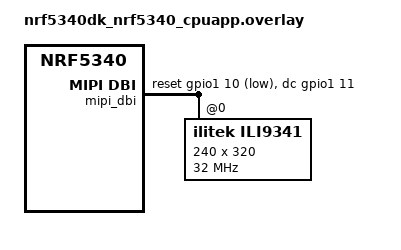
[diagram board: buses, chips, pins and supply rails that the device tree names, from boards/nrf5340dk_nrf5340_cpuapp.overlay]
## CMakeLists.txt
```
#
# Copyright (c) 2018 Nordic Semiconductor
#
# SPDX-License-Identifier: LicenseRef-Nordic-5-Clause
#

cmake_minimum_required(VERSION 3.20.0)

find_package(Zephyr REQUIRED HINTS $ENV{ZEPHYR_BASE})
project(nrf5340_notify)

FILE(GLOB app_sources src/*.c)
target_sources(app PRIVATE ${app_sources})
```

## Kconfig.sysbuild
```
#
# Copyright (c) 2023 Nordic Semiconductor
#
# SPDX-License-Identifier: LicenseRef-Nordic-5-Clause
#

# 让 sysbuild 生成 merged.hex(同时含 app 核 + 网络核),方便一次烧录
config MERGED_HEX_FILES
	default y if !SOC_SERIES_NRF54H

# 在网络核(cpunet)上跑 ipc_radio,提供 BLE 控制器
config NRF_DEFAULT_IPC_RADIO
	default y

# ipc_radio 里的蓝牙 HCI IPC 分支(与应用核的 CONFIG_BT_HCI_IPC 对应)
config NETCORE_IPC_RADIO_BT_HCI_IPC
	default y

source "share/sysbuild/Kconfig"
```

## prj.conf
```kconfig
#
# Notification mirror: Gadgetbridge (NUS over BLE) -> ILI9341 (LVGL)
#

# --- Display (ILI9341 over SPI) ---
CONFIG_DISPLAY=y
CONFIG_SPI=y
CONFIG_GPIO=y

# --- nRF5340 DK / system ---
CONFIG_DK_LIBRARY=y
CONFIG_HEAP_MEM_POOL_SIZE=2048
CONFIG_MAIN_STACK_SIZE=4096
CONFIG_SYSTEM_WORKQUEUE_STACK_SIZE=4096

# FPU + newlib (LVGL uses some float/formatting)
CONFIG_FPU=y
CONFIG_NEWLIB_LIBC=y

# --- LVGL ---
CONFIG_LVGL=y
CONFIG_LV_Z_MEM_POOL_SIZE=32768
CONFIG_LV_COLOR_DEPTH_16=y
CONFIG_LV_USE_LABEL=y
# 内置思源黑体中文子集(含 ASCII 32~127 + 约 1187 个常用汉字),设为全局默认字体
CONFIG_LV_FONT_DEFAULT_SOURCE_HAN_SANS_SC_16_CJK=y
# 顶部头像用 LVGL 内置符号字体绘制邮件/电话/音乐等图标
CONFIG_LV_FONT_MONTSERRAT_20=y

# --- BLE / Nordic UART Service (Gadgetbridge talks NUS) ---
CONFIG_BT=y
CONFIG_BT_PERIPHERAL=y
# Gadgetbridge recognizes the Bangle.js device by name.
CONFIG_BT_DEVICE_NAME="Bangle.js"
CONFIG_BT_MAX_CONN=1
CONFIG_BT_MAX_PAIRED=1
CONFIG_BT_NUS=y
# Gadgetbridge (Bangle.js device type) bonds before talking NUS.
CONFIG_BT_SMP=y
CONFIG_BT_SETTINGS=y
CONFIG_SETTINGS=y
# Without a settings backend every bond/CCC save fails with -ENOENT and the
# phone reports the pairing as failed. NVS lives in storage_partition.
CONFIG_NVS=y
CONFIG_SETTINGS_NVS=y
CONFIG_FLASH=y
CONFIG_FLASH_PAGE_LAYOUT=y
CONFIG_FLASH_MAP=y

# --- Logging (RTT so we can watch parse output on PC) ---
CONFIG_LOG=y
CONFIG_CONSOLE=y
CONFIG_USE_SEGGER_RTT=y
CONFIG_LOG_BACKEND_RTT=y
CONFIG_LOG_BACKEND_UART=n
CONFIG_LOG_PRINTK=n
CONFIG_ASSERT=y
```

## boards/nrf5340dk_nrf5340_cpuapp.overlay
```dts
/*
 * ILI9341 wiring (Arduino headers on nRF5340 DK):
 * SCK=D13/P1.15, MOSI=D11/P1.13, CS=D10/P1.12,
 * DC=D9/P1.11, RESET=D8/P1.10.
 *
 * The display uses the DK's Arduino SPI controller (spi4/arduino_spi).
 */

#include <zephyr/dt-bindings/display/panel.h>

/ {
	chosen {
		zephyr,display = &ili9341;
	};

	mipi_dbi {
		compatible = "zephyr,mipi-dbi-spi";
		spi-dev = <&arduino_spi>;
		dc-gpios = <&gpio1 11 GPIO_ACTIVE_HIGH>;
		reset-gpios = <&gpio1 10 GPIO_ACTIVE_LOW>;
		write-only;
		#address-cells = <1>;
		#size-cells = <0>;

		ili9341: ili9341@0 {
			compatible = "ilitek,ili9341";
			reg = <0>;
			mipi-max-frequency = <32000000>;
			mipi-mode = "MIPI_DBI_MODE_SPI_4WIRE";
			width = <240>;
			height = <320>;
			/* Module installed in landscape orientation. */
			rotation = <90>;
			pixel-format = <PANEL_PIXEL_FORMAT_RGB_565>;
		};
	};
};
```

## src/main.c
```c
/*
 * Notification mirror for nRF5340 DK + ILI9341.
 *
 * Phone (Android + Gadgetbridge) -> BLE (Nordic UART Service) -> JSON
 *   {"t":"notify","id":123,"src":"email","sender":"Alice",
 *    "title":"...","body":"..."}
 * -> parsed -> rendered by LVGL onto the ILI9341.
 *
 * The BLE side speaks the same NUS UUID as ZSWatch, so a stock Gadgetbridge
 * with ZSWatch device support can connect and forward Android notifications.
 */

#include <stdio.h>
#include <string.h>
#include <stdlib.h>

#include <zephyr/kernel.h>
#include <zephyr/device.h>
#include <zephyr/devicetree.h>
#include <zephyr/drivers/display.h>
#include <zephyr/init.h>
#include <zephyr/logging/log.h>
#include <zephyr/sys/byteorder.h>
#include <zephyr/settings/settings.h>

#include <zephyr/bluetooth/bluetooth.h>
#include <zephyr/bluetooth/uuid.h>
#include <zephyr/bluetooth/gatt.h>
#include <bluetooth/services/nus.h>

#include <hal/nrf_clock.h>

#include <lvgl.h>

LOG_MODULE_REGISTER(notify, LOG_LEVEL_INF);

#define DEVICE_NAME CONFIG_BT_DEVICE_NAME
#define DEVICE_NAME_LEN (sizeof(DEVICE_NAME) - 1)

/* SPIM may use 32 MHz only with HFCLK at 128 MHz; must run before the display
 * driver's POST_KERNEL init or its 16 MHz fallback is cached. */
static int enable_128mhz_hfclk(void)
{
	nrf_clock_hfclk_div_set(NRF_CLOCK, NRF_CLOCK_HFCLK_DIV_1);
	return 0;
}
SYS_INIT(enable_128mhz_hfclk, PRE_KERNEL_1, 0);

/* The ILI9341 module is physically wired horizontally mirrored: LVGL renders
 * in logical coordinates, so this flush callback mirrors every row in place
 * and flips the X offset before handing the buffer to the panel driver. */
static const struct device *mirror_disp_dev;

static void mirror_flush_cb(lv_display_t *disp, const lv_area_t *area, uint8_t *px_map)
{
	uint16_t w = (uint16_t)(area->x2 - area->x1 + 1);
	uint16_t h = (uint16_t)(area->y2 - area->y1 + 1);
	uint16_t *px = (uint16_t *)px_map;

	/* Mirror every horizontal row in place and emit each RGB565 word high
	 * byte first: the panel latches the MSB first while LVGL renders
	 * little-endian words. */
	for (uint16_t r = 0; r < h; r++) {
		uint16_t *row = px + (size_t)r * w;

		for (uint16_t c = 0; c < (w + 1U) / 2U; c++) {
			uint16_t left = row[c];
			uint16_t right = row[w - 1U - c];

			row[c] = sys_cpu_to_be16(right);
			row[w - 1U - c] = sys_cpu_to_be16(left);
		}
	}

	struct display_buffer_descriptor desc = {
		.buf_size = w * 2U * h,
		.width = w,
		.height = h,
		.pitch = w,
	};

	uint16_t x = (uint16_t)(lv_display_get_horizontal_resolution(disp) - 1U - area->x2);
	uint16_t y = (uint16_t)area->y1;

	if (display_write(mirror_disp_dev, x, y, &desc, px)) {
		LOG_ERR("display_write failed");
	}

	lv_display_flush_ready(disp);
}

/* ---------- UI state ---------- */
static lv_obj_t *icon_bg;
static lv_obj_t *icon_label;
static lv_obj_t *header_label;
static lv_obj_t *title_label;
static lv_obj_t *meta_label;
static lv_obj_t *body_label;

/* Parsed notification, filled by BLE rx context, read by the LVGL main loop. */
static char g_src[64];
static char g_title[256];
static char g_meta[256];
static char g_body[1600];
static atomic_t has_notification;

/* ---------- BLE state ---------- */
static struct bt_conn *current_conn;
static struct k_work adv_work;

#define RX_BUF_MAX 2048
static uint8_t rx_buf[RX_BUF_MAX];
static size_t rx_len;

static const struct bt_data ad[] = {
	BT_DATA_BYTES(BT_DATA_FLAGS, (BT_LE_AD_GENERAL | BT_LE_AD_NO_BREDR)),
	BT_DATA(BT_DATA_NAME_COMPLETE, DEVICE_NAME, DEVICE_NAME_LEN),
};

static const struct bt_data sd[] = {
	BT_DATA_BYTES(BT_DATA_UUID128_ALL, BT_UUID_NUS_VAL),
};

/* ---------- Minimal JSON field extraction ---------- */
static char *find_key(const char *key, char *data)
{
	return strstr(data, key);
}

static uint32_t extract_uint32(const char *key, char *data)
{
	char *p = strstr(data, key);

	if (p == NULL) {
		return 0;
	}
	return strtoul(p + strlen(key), NULL, 10);
}

static bool hex4(const char *s, uint32_t *val)
{
	uint32_t v = 0;

	for (int i = 0; i < 4; i++) {
		char c = s[i];

		v <<= 4;
		if (c >= '0' && c <= '9') {
			v |= (uint32_t)(c - '0');
		} else if (c >= 'a' && c <= 'f') {
			v |= (uint32_t)(c - 'a' + 10);
		} else if (c >= 'A' && c <= 'F') {
			v |= (uint32_t)(c - 'A' + 10);
		} else {
			return false;
		}
	}
	*val = v;
	return true;
}

static void utf8_append(char *out, size_t *n, size_t out_len, uint32_t cp)
{
	size_t need;

	if (cp < 0x80U) {
		need = 1;
	} else if (cp < 0x800U) {
		need = 2;
	} else if (cp < 0x10000U) {
		need = 3;
	} else {
		need = 4;
	}
	if (*n + need >= out_len) {
		return;
	}

	if (need == 1) {
		out[(*n)++] = (char)cp;
	} else if (need == 2) {
		out[(*n)++] = (char)(0xC0U | (cp >> 6));
		out[(*n)++] = (char)(0x80U | (cp & 0x3FU));
	} else if (need == 3) {
		out[(*n)++] = (char)(0xE0U | (cp >> 12));
		out[(*n)++] = (char)(0x80U | ((cp >> 6) & 0x3FU));
		out[(*n)++] = (char)(0x80U | (cp & 0x3FU));
	} else {
		out[(*n)++] = (char)(0xF0U | (cp >> 18));
		out[(*n)++] = (char)(0x80U | ((cp >> 12) & 0x3FU));
		out[(*n)++] = (char)(0x80U | ((cp >> 6) & 0x3FU));
		out[(*n)++] = (char)(0x80U | (cp & 0x3FU));
	}
}

/* Copies the string value after "key": into out, decoding the JSON escapes
 * Gadgetbridge uses (all non-ASCII text arrives as \uXXXX). */
static bool extract_str(const char *key, char *data, char *out, size_t out_len)
{
	char *p = strstr(data, key);
	size_t n = 0;

	if (p == NULL) {
		return false;
	}
	p += strlen(key);
	if (*p != '"') {
		return false;
	}
	p++;

	while (*p != '\0' && *p != '"' && n < out_len - 1U) {
		if (*p != '\\') {
			out[n++] = *p++;
			continue;
		}

		p++;
		switch (*p) {
		case 'n':
			out[n++] = '\n';
			p++;
			break;
		case 'r':
			out[n++] = '\r';
			p++;
			break;
		case 't':
			out[n++] = '\t';
			p++;
			break;
		case '"':
		case '\\':
		case '/':
			out[n++] = *p++;
			break;
		case 'u': {
			uint32_t cp;

			p++;
			if (!hex4(p, &cp)) {
				break;
			}
			p += 4;
			/* Emoji and other astral characters arrive as a surrogate pair. */
			if (cp >= 0xD800U && cp <= 0xDBFFU && p[0] == '\\' && p[1] == 'u') {
				uint32_t lo;

				if (hex4(p + 2, &lo) && lo >= 0xDC00U && lo <= 0xDFFFU) {
					cp = 0x10000U + ((cp - 0xD800U) << 10) + (lo - 0xDC00U);
					p += 6;
				}
			}
			if (cp != 0U) {
				utf8_append(out, &n, out_len, cp);
			}
			break;
		}
		default:
			p++;
			break;
		}
	}
	out[n] = '\0';
	return true;
}

static void handle_notify(char *json)
{
	uint32_t id = extract_uint32("\"id\":", json);

	extract_str("\"title\":", json, g_title, sizeof(g_title));
	extract_str("\"body\":", json, g_body, sizeof(g_body));

	char sender[128] = "";

	extract_str("\"src\":", json, g_src, sizeof(g_src));
	extract_str("\"sender\":", json, sender, sizeof(sender));

	if (g_title[0] == '\0') {
		const char *fallback = sender[0] ? sender : g_src;

		strncpy(g_title, fallback, sizeof(g_title) - 1U);
		g_title[sizeof(g_title) - 1U] = '\0';
	}

	/* Do not repeat the same text on the header, title and subtitle lines. */
	if (sender[0] != '\0' && strcmp(sender, g_title) != 0) {
		snprintf(g_meta, sizeof(g_meta), "%s · %s", g_src, sender);
	} else if (g_src[0] != '\0' && strcmp(g_src, g_title) != 0) {
		strncpy(g_meta, g_src, sizeof(g_meta) - 1U);
		g_meta[sizeof(g_meta) - 1U] = '\0';
	} else {
		g_meta[0] = '\0';
	}

	LOG_INF("notify id=%u src='%s' sender='%s'", id, g_src, sender);
	LOG_INF("  title='%s'", g_title);
	LOG_INF("  body='%s'", g_body);

	atomic_set(&has_notification, 1);
}

static void handle_json(char *json, size_t len)
{
	char type[16] = "";

	LOG_INF("NUS JSON len=%u: '%s'", (unsigned int)len, json);
	if (!extract_str("\"t\":", json, type, sizeof(type))) {
		LOG_WRN("no type field");
		return;
	}

	if (strcmp(type, "notify") == 0) {
		handle_notify(json);
	} else if (strcmp(type, "notify-remove") == 0) {
		LOG_INF("notify-remove ignored");
	} else {
		LOG_INF("unhandled type '%s'", type);
	}
}

static void nus_received(struct bt_conn *conn, const uint8_t *data, uint16_t len)
{
	ARG_UNUSED(conn);
	LOG_INF("NUS rx: %u byte(s)", len);
	LOG_HEXDUMP_INF(data, len, "NUS rx data");

	for (uint16_t i = 0; i < len; i++) {
		/* Gadgetbridge normally sends newline-delimited JSON.  Treat NUL as
		 * a delimiter too: some phone-side transports use C-string framing. */
		if (data[i] == '\n' || data[i] == '\r' || data[i] == '\0') {
			if (rx_len > 0) {
				rx_buf[rx_len] = '\0';
				handle_json((char *)rx_buf, rx_len);
				rx_len = 0;
			}
		} else if (rx_len < RX_BUF_MAX - 1U) {
			rx_buf[rx_len++] = data[i];
		} else {
			LOG_WRN("NUS JSON exceeds %u bytes; dropping frame", RX_BUF_MAX - 1U);
			rx_len = 0;
		}
	}
}

static struct bt_nus_cb nus_cb = {
	.received = nus_received,
};

static void adv_work_handler(struct k_work *work)
{
	ARG_UNUSED(work);
	int err = bt_le_adv_start(BT_LE_ADV_CONN_FAST_2, ad, ARRAY_SIZE(ad),
				  sd, ARRAY_SIZE(sd));

	if (err) {
		LOG_ERR("advertising failed (err %d)", err);
	} else {
		LOG_INF("advertising started as '%s'", DEVICE_NAME);
	}
}

static void connected(struct bt_conn *conn, uint8_t err)
{
	if (err) {
		LOG_ERR("connection failed (err %u)", err);
		return;
	}
	current_conn = bt_conn_ref(conn);
	LOG_INF("connected");
}

static void disconnected(struct bt_conn *conn, uint8_t reason)
{
	ARG_UNUSED(reason);
	if (current_conn) {
		bt_conn_unref(current_conn);
		current_conn = NULL;
	}
	LOG_INF("disconnected, restarting advertising");
	k_work_submit(&adv_work);
}

BT_CONN_CB_DEFINE(conn_callbacks) = {
	.connected = connected,
	.disconnected = disconnected,
};

/* ---------- UI ---------- */
#define COL_BG     lv_color_hex(0x0B1014)
#define COL_HEADER lv_color_hex(0x16222C)
#define COL_ACCENT lv_color_hex(0x4CC2FF)
#define COL_TITLE  lv_color_hex(0xFFFFFF)
#define COL_META   lv_color_hex(0x8399AD)
#define COL_BODY   lv_color_hex(0xD3DEE9)
#define COL_LINE   lv_color_hex(0x243441)

/* Gadgetbridge only forwards text over the Bangle.js channel, so the real app
 * icon never reaches the watch. ZSWatch solves this by letting the phone send
 * an icon id and shipping the bitmaps in firmware; here we map the app name to
 * one of LVGL's built-in symbol glyphs and fall back to a coloured initial
 * avatar for everything else. */
static const struct {
	const char *keyword;
	const char *symbol;
} icon_rules[] = {
	{ "mail", LV_SYMBOL_ENVELOPE },
	{ "gmail", LV_SYMBOL_ENVELOPE },
	{ "outlook", LV_SYMBOL_ENVELOPE },
	{ "邮件", LV_SYMBOL_ENVELOPE },
	{ "邮箱", LV_SYMBOL_ENVELOPE },
	{ "sms", LV_SYMBOL_ENVELOPE },
	{ "短信", LV_SYMBOL_ENVELOPE },
	{ "call", LV_SYMBOL_CALL },
	{ "phone", LV_SYMBOL_CALL },
	{ "电话", LV_SYMBOL_CALL },
	{ "通话", LV_SYMBOL_CALL },
	{ "music", LV_SYMBOL_AUDIO },
	{ "音乐", LV_SYMBOL_AUDIO },
	{ "spotify", LV_SYMBOL_AUDIO },
	{ "calendar", LV_SYMBOL_LIST },
	{ "日历", LV_SYMBOL_LIST },
	{ "alarm", LV_SYMBOL_BELL },
	{ "闹钟", LV_SYMBOL_BELL },
};

static const char *icon_symbol_for(const char *src)
{
	char lower[64];
	size_t i = 0;

	for (; src[i] != '\0' && i < sizeof(lower) - 1U; i++) {
		char c = src[i];

		lower[i] = (c >= 'A' && c <= 'Z') ? (char)(c + ('a' - 'A')) : c;
	}
	lower[i] = '\0';

	for (size_t r = 0; r < ARRAY_SIZE(icon_rules); r++) {
		if (strstr(lower, icon_rules[r].keyword) != NULL) {
			return icon_rules[r].symbol;
		}
	}
	return NULL;
}

static void icon_set(const char *src)
{
	static const uint32_t palette[] = {
		0xE4572E, 0x17A398, 0x3A7DDE, 0x9B5DE5,
		0xF2A93B, 0x2E9E5B, 0xD64C7C, 0x5B6EE1,
	};
	const char *symbol = icon_symbol_for(src);
	uint32_t hash = 0;
	char first[5] = {0};
	uint8_t c = (uint8_t)src[0];
	size_t len = 1U;

	for (const char *p = src; *p != '\0'; p++) {
		hash = hash * 31U + (uint8_t)*p;
	}

	if (c >= 0xF0U) {
		len = 4U;
	} else if (c >= 0xE0U) {
		len = 3U;
	} else if (c >= 0xC0U) {
		len = 2U;
	} else if (c >= 'a' && c <= 'z') {
		first[0] = (char)(c - ('a' - 'A'));
	}

	if (len > 1U) {
		memcpy(first, src, MIN(len, strlen(src)));
	}

	lv_obj_set_style_bg_color(icon_bg, lv_color_hex(palette[hash % ARRAY_SIZE(palette)]), 0);

	if (symbol != NULL) {
		lv_obj_set_style_text_font(icon_label, &lv_font_montserrat_20, 0);
		lv_label_set_text(icon_label, symbol);
	} else {
		lv_obj_set_style_text_font(icon_label, &lv_font_source_han_sans_sc_16_cjk, 0);
		lv_label_set_text(icon_label, first[0] ? first : "?");
	}
}

static void ui_init(void)
{
	lv_obj_t *scr = lv_screen_active();
	lv_obj_t *header;
	lv_obj_t *divider;

	lv_obj_set_style_bg_color(scr, COL_BG, 0);
	lv_obj_set_style_bg_opa(scr, LV_OPA_COVER, 0);
	lv_obj_clear_flag(scr, LV_OBJ_FLAG_SCROLLABLE);

	/* App name strip. */
	header = lv_obj_create(scr);
	lv_obj_remove_style_all(header);
	lv_obj_set_pos(header, 0, 0);
	lv_obj_set_size(header, 320, 34);
	lv_obj_set_style_bg_color(header, COL_HEADER, 0);
	lv_obj_set_style_bg_opa(header, LV_OPA_COVER, 0);
	lv_obj_clear_flag(header, LV_OBJ_FLAG_SCROLLABLE);

	icon_bg = lv_obj_create(header);
	lv_obj_remove_style_all(icon_bg);
	lv_obj_set_pos(icon_bg, 10, 4);
	lv_obj_set_size(icon_bg, 26, 26);
	lv_obj_set_style_radius(icon_bg, 8, 0);
	lv_obj_set_style_bg_opa(icon_bg, LV_OPA_COVER, 0);
	lv_obj_clear_flag(icon_bg, LV_OBJ_FLAG_SCROLLABLE);

	icon_label = lv_label_create(icon_bg);
	lv_obj_center(icon_label);
	lv_obj_set_style_text_color(icon_label, lv_color_hex(0xFFFFFF), 0);

	header_label = lv_label_create(header);
	lv_obj_set_pos(header_label, 46, 9);
	lv_obj_set_width(header_label, 262);
	lv_label_set_long_mode(header_label, LV_LABEL_LONG_DOT);
	lv_obj_set_style_text_color(header_label, COL_ACCENT, 0);

	title_label = lv_label_create(scr);
	lv_obj_set_pos(title_label, 12, 46);
	lv_obj_set_width(title_label, 296);
	lv_label_set_long_mode(title_label, LV_LABEL_LONG_DOT);
	lv_obj_set_style_text_color(title_label, COL_TITLE, 0);

	meta_label = lv_label_create(scr);
	lv_obj_set_pos(meta_label, 12, 72);
	lv_obj_set_width(meta_label, 296);
	lv_label_set_long_mode(meta_label, LV_LABEL_LONG_DOT);
	lv_obj_set_style_text_color(meta_label, COL_META, 0);

	divider = lv_obj_create(scr);
	lv_obj_remove_style_all(divider);
	lv_obj_set_pos(divider, 12, 96);
	lv_obj_set_size(divider, 296, 1);
	lv_obj_set_style_bg_color(divider, COL_LINE, 0);
	lv_obj_set_style_bg_opa(divider, LV_OPA_COVER, 0);

	body_label = lv_label_create(scr);
	lv_obj_set_pos(body_label, 12, 106);
	lv_obj_set_width(body_label, 296);
	lv_label_set_long_mode(body_label, LV_LABEL_LONG_WRAP);
	lv_obj_set_style_text_color(body_label, COL_BODY, 0);
	lv_obj_set_style_text_line_space(body_label, 4, 0);

	lv_label_set_text(header_label, "notification");
	lv_label_set_text(title_label, "No notification yet");
	lv_label_set_text(body_label, "Waiting for Gadgetbridge...");
	lv_obj_add_flag(meta_label, LV_OBJ_FLAG_HIDDEN);
	icon_set("notification");
}

static void ui_apply_notification(void)
{
	lv_label_set_text(header_label, g_src[0] ? g_src : "notification");
	lv_label_set_text(title_label, g_title);
	lv_label_set_text(body_label, g_body);
	icon_set(g_src[0] ? g_src : "notification");

	if (g_meta[0] != '\0') {
		lv_label_set_text(meta_label, g_meta);
		lv_obj_clear_flag(meta_label, LV_OBJ_FLAG_HIDDEN);
	} else {
		lv_obj_add_flag(meta_label, LV_OBJ_FLAG_HIDDEN);
	}

	LOG_INF("ui applied: title='%s'", g_title);
	/* Force the refresh now instead of waiting for the next LVGL cycle, so a
	 * stalled refresh timer cannot leave the panel showing stale content. */
	lv_refr_now(lv_display_get_default());
}

int main(void)
{
	const struct device *display = DEVICE_DT_GET(DT_CHOSEN(zephyr_display));
	int err;

	if (!device_is_ready(display)) {
		LOG_ERR("ILI9341 display not ready");
		return -ENODEV;
	}
	err = display_blanking_off(display);
	if (err < 0 && err != -ENOSYS) {
		LOG_ERR("display blanking_off failed (%d)", err);
	}

	/* The ILI9341 module is horizontally mirrored; override LVGL's default
	 * flush callback to un-mirror every update on the way to the panel. */
	mirror_disp_dev = display;
	lv_display_set_flush_cb(lv_display_get_default(), mirror_flush_cb);

	ui_init();

	err = bt_enable(NULL);
	if (err) {
		LOG_ERR("bt_enable failed (%d)", err);
		return err;
	}
	LOG_INF("Bluetooth enabled");

	/* CONFIG_BT_SETTINGS is enabled, so the host does not create an identity
	 * address on its own: it has to be restored here before any connectable
	 * advertising is started, otherwise bt_le_adv_start() returns -EAGAIN.
	 */
	if (IS_ENABLED(CONFIG_SETTINGS)) {
		err = settings_load();
		if (err) {
			LOG_ERR("settings_load failed (%d)", err);
			return err;
		}
	}

	err = bt_nus_init(&nus_cb);
	if (err) {
		LOG_ERR("bt_nus_init failed (%d)", err);
		return err;
	}

	k_work_init(&adv_work, adv_work_handler);
	k_work_submit(&adv_work);

	while (1) {
		if (atomic_get(&has_notification) != 0) {
			ui_apply_notification();
			atomic_set(&has_notification, 0);
		}
		lv_timer_handler();
		k_sleep(K_MSEC(10));
	}
}
```
